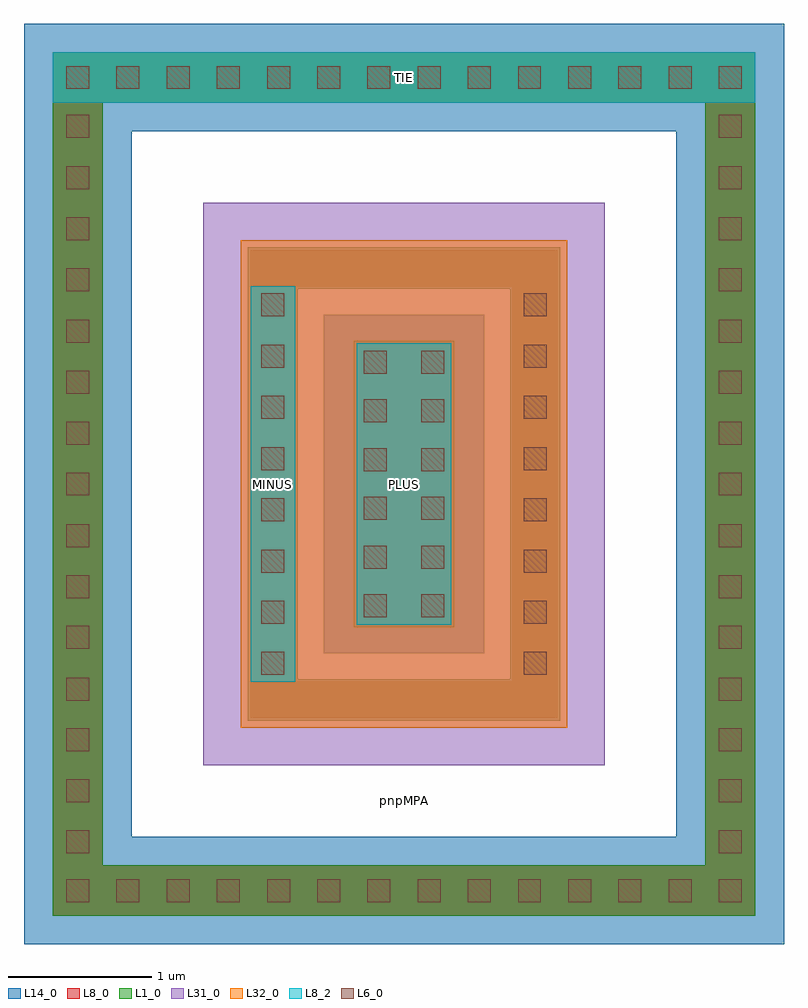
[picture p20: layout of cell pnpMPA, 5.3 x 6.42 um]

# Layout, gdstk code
import gdstk
lib = gdstk.Library(unit=1e-6, precision=1e-09)
def R(c, l, rs):  # rectangles x0, y0, x1, y1
    for r in rs: c.add(gdstk.rectangle(r[:2], r[2:], *l))
def A(c, l, x, y, w, h, nx, ny, dx, dy):  # array of equal rectangles
    R(c, l, [(x+i*dx, y+j*dy, x+i*dx+w, y+j*dy+h) for i in range(nx) for j in range(ny)])
def P(c, l, *ps):  # polygons
    for p in ps: c.add(gdstk.Polygon(p, *l))
L1_0 = (1, 0)
L6_0 = (6, 0)
L8_0 = (8, 0)
L8_2 = (8, 2)
L14_0 = (14, 0)
L31_0 = (31, 0)
L32_0 = (32, 0)

pnpmpa = lib.new_cell('pnpMPA')
R(pnpmpa, L1_0, [(-0.35,-1,0.35,1)])
P(pnpmpa, L1_0, [(-2.45,-3.01),(-2.45,3.01),(2.1,3.01),(2.1,2.66),(-2.1,2.66),(-2.1,-2.66),(2.1,-2.66),(2.1,3.01),(2.45,3.01),(2.45,-3.01)],
  [(-1.09,-1.65),(-1.09,1.65),(0.74,1.65),(0.74,1.36),(-0.74,1.36),(-0.74,-1.36),(0.74,-1.36),(0.74,1.65),(1.09,1.65),(1.09,-1.65)])
A(pnpmpa, L6_0, -2.355, -2.915, 0.16, 0.16, 14, 2, 0.35, 5.67)
A(pnpmpa, L6_0, -2.355, -2.575, 0.16, 0.16, 1, 4, 0, 0.355)
A(pnpmpa, L6_0, 2.195, -2.575, 0.16, 0.16, 1, 4, 0, 0.355)
A(pnpmpa, L6_0, -0.995, -1.33, 0.16, 0.16, 1, 3, 0, 0.355)
A(pnpmpa, L6_0, 0.835, -1.33, 0.16, 0.16, 1, 3, 0, 0.355)
A(pnpmpa, L6_0, -2.355, -1.15, 0.16, 0.16, 1, 3, 0, 0.355)
A(pnpmpa, L6_0, 2.195, -1.15, 0.16, 0.16, 1, 3, 0, 0.355)
A(pnpmpa, L6_0, -0.28, -0.93, 0.16, 0.16, 1, 6, 0, 0.34)
A(pnpmpa, L6_0, 0.12, -0.93, 0.16, 0.16, 1, 6, 0, 0.34)
A(pnpmpa, L6_0, -2.355, -0.08, 0.16, 0.16, 1, 4, 0, 0.355)
A(pnpmpa, L6_0, 2.195, -0.08, 0.16, 0.16, 1, 4, 0, 0.355)
A(pnpmpa, L6_0, -2.355, 1.345, 0.16, 0.16, 1, 3, 0, 0.355)
A(pnpmpa, L6_0, 2.195, 1.345, 0.16, 0.16, 1, 3, 0, 0.355)
R(pnpmpa, L6_0, [(-0.995,-0.26,-0.835,-0.1), (0.835,-0.26,0.995,-0.1), (-0.995,0.095,-0.835,0.255), (0.835,0.095,0.995,0.255), (-0.995,0.455,-0.835,0.615), (0.835,0.455,0.995,0.615), (-0.995,0.81,-0.835,0.97), (0.835,0.81,0.995,0.97), (-0.995,1.17,-0.835,1.33), (0.835,1.17,0.995,1.33), (-2.355,2.415,-2.195,2.575), (2.195,2.415,2.355,2.575)])
R(pnpmpa, L8_0, [(-2.45,-3.01,2.45,-2.66), (-2.45,-2.66,-2.1,2.66), (2.1,-2.66,2.45,2.66), (-1.07,-1.38,-0.76,1.38), (0.76,-1.38,1.07,1.38), (-0.33,-0.98,0.33,0.98), (-2.45,2.66,2.45,3.01)])
P(pnpmpa, L8_0, [(-1.07,-1.63),(-1.07,1.63),(0.76,1.63),(0.76,1.38),(-0.76,1.38),(-0.76,-1.38),(0.76,-1.38),(0.76,1.63),(1.07,1.63),(1.07,-1.63)])
R(pnpmpa, L8_2, [(-1.07,-1.38,-0.76,1.38), (-0.33,-0.98,0.33,0.98), (-2.45,2.66,2.45,3.01)])
R(pnpmpa, L14_0, [(-0.56,-1.18,0.56,1.18)])
P(pnpmpa, L14_0, [(-2.65,-3.21),(-2.65,3.21),(1.9,3.21),(1.9,2.46),(-1.9,2.46),(-1.9,-2.46),(1.9,-2.46),(1.9,3.21),(2.65,3.21),(2.65,-3.21)])
R(pnpmpa, L31_0, [(-1.4,-1.96,1.4,1.96)])
R(pnpmpa, L32_0, [(-1.14,-1.7,1.14,1.7)])
pnpmpa.add(gdstk.Label('TIE', (0,2.835), layer=63, texttype=0))
pnpmpa.add(gdstk.Label('pnpMPA', (0,-2.21), layer=63, texttype=0))
pnpmpa.add(gdstk.Label('MINUS', (-0.915,0), layer=63, texttype=0))
pnpmpa.add(gdstk.Label('PLUS', (0,0), layer=63, texttype=0))

lib.write_gds('pnpMPA.gds')
